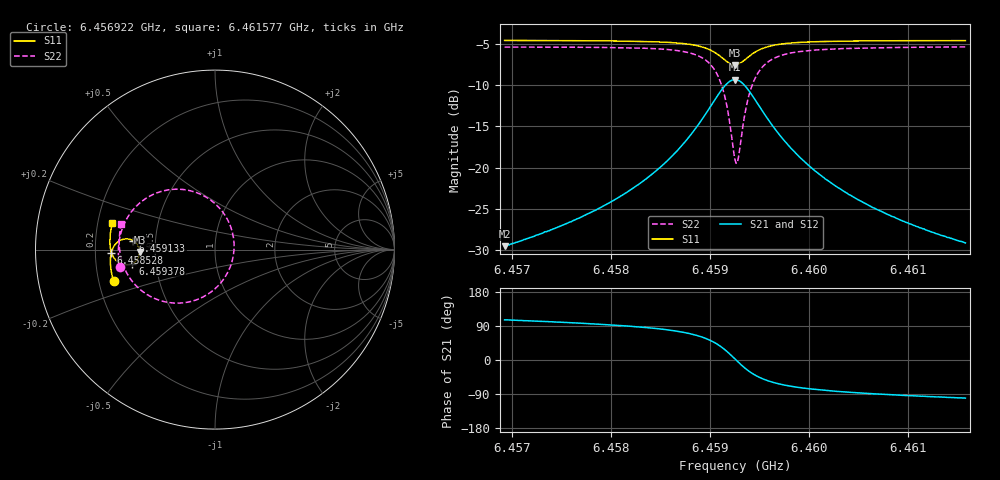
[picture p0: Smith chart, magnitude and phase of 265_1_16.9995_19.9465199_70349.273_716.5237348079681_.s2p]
#  HZ  S  RI  R  50.00
! Rohde & Schwarz Vector Network Analyzer
! Rohde-Schwarz,ZNB20-2Port,1311601062101988,3.16
! Created: UTC 3/20/2024, 11:03:56 PM
! freq[Hz]  re:S11  im:S11  re:S21  im:S21  re:S12  im:S12  re:S22  im:S22
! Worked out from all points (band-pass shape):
!   401 points, 6.456922 GHz to 6.461577 GHz, reference 50 ohm
!   highest |S21| = -9.30 dB at 6.459249 GHz (marker M1); lowest = -29.5 dB at 6.456922 GHz (marker M2)
!   |S21| within 3 dB of the highest: 6.459016 GHz to 6.459482 GHz (465.8 kHz wide, 0.00721 % of centre)
!   lowest |S11| = -7.5 dB at 6.459249 GHz (marker M3), VSWR 2.45, Z = 20.4 - j0.626 ohm
!   |S11| at or under -10 dB: nowhere
!   |S22| runs from -19.5 to -5.3 dB; largest |S21 - S12| = 0.013
!   S11 on the Smith chart (normalised r, x): 6.456922 GHz: 0.26, -0.14; 6.458528 GHz: 0.27, -0.01; 6.459133 GHz: 0.37, +0.05; 6.459378 GHz: 0.37, -0.07; 6.461577 GHz: 0.26, +0.12
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6.456922e9  -0.5651 -0.1771  -0.00916 0.032  -0.00757 0.0321  -0.5316 -0.0943
6.4577017e9  -0.5799 -0.1093  -0.00609 0.0499  -0.00351 0.0494  -0.5382 -0.00344
6.4581323e9  -0.5831 -0.0663  -0.000197 0.0693  0.0029 0.068  -0.5311 0.0643
6.4584814e9  -0.5797 -0.0249  0.0134 0.098  0.0173 0.0954  -0.5064 0.1425
6.458528e9  -0.5783 -0.0185  0.0167 0.1035  0.0207 0.1006  -0.5003 0.1555
6.4587375e9  -0.5662 0.0133  0.0424 0.1351  0.0466 0.1304  -0.452 0.2274
6.4588887e9  -0.5452 0.0397  0.0846 0.1654  0.0881 0.159  -0.374 0.2918
6.45904e9  -0.4995 0.0595  0.1759 0.1847  0.1771 0.1773  -0.2072 0.3366
6.4591331e9  -0.4552 0.0496  0.2653 0.1541  0.2657 0.1482  -0.0414 0.2874
6.4591797e9  -0.4343 0.031  0.3089 0.1116  0.3103 0.1063  0.0413 0.2118
6.4592495e9  -0.4195 -0.0126  0.3422 0.0158  0.3458 0.00868  0.1063 0.0336
6.4592611e9  -0.42 -0.0206  0.3421 -0.00187  0.3459 -0.00957  0.1061 0.000231
6.4592844e9  -0.4233 -0.036  0.3365 -0.0362  0.3404 -0.0454  0.0952 -0.065
6.459331e9  -0.4388 -0.0619  0.3086 -0.0957  0.3107 -0.1076  0.0386 -0.1774
6.4593775e9  -0.4606 -0.0778  0.2671 -0.1366  0.2663 -0.1497  -0.0455 -0.2519
6.4594706e9  -0.5035 -0.0846  0.1832 -0.1678  0.1772 -0.1794  -0.2128 -0.2983
6.4596219e9  -0.5469 -0.0642  0.0961 -0.1545  0.0879 -0.1608  -0.379 -0.2502
6.4597848e9  -0.5683 -0.0366  0.0517 -0.1273  0.0441 -0.13  -0.4592 -0.1789
6.4600292e9  -0.5811 -0.00124  0.0226 -0.0962  0.0168 -0.0967  -0.5073 -0.097
6.4603667e9  -0.5856 0.0388  0.00684 -0.0704  0.00279 -0.07  -0.5289 -0.0202
6.4608089e9  -0.5837 0.0829  -0.0012 -0.0514  -0.00407 -0.0506  -0.5337 0.0504
6.461577e9  -0.5716 0.1509  -0.00638 -0.0343  -0.00805 -0.0333  -0.5226 0.1407
